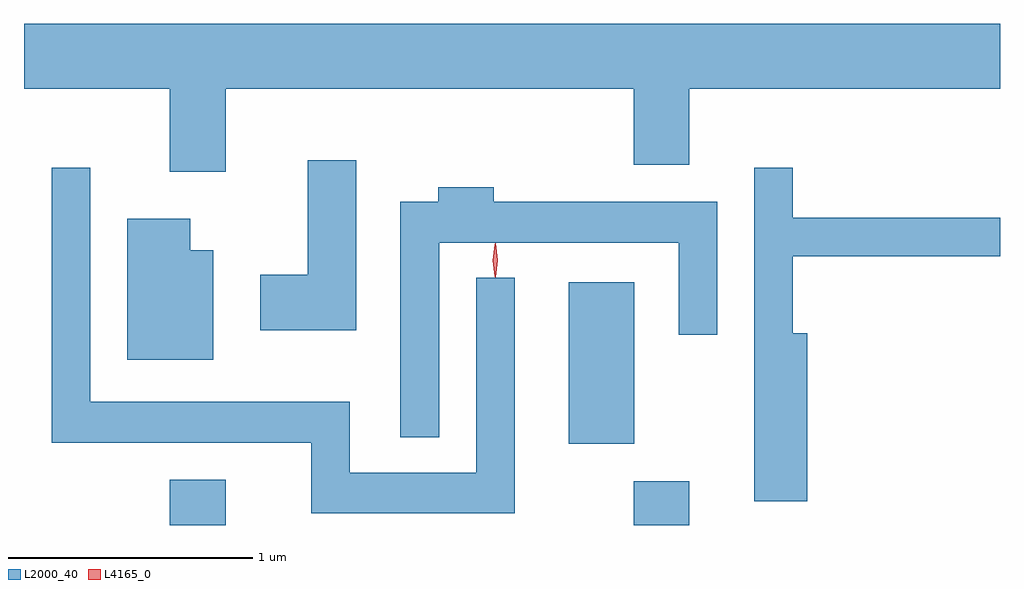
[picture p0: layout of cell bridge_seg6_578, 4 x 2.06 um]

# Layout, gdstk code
import gdstk
lib = gdstk.Library(unit=1e-6, precision=1e-09)
def R(c, l, rs):  # rectangles x0, y0, x1, y1
    for r in rs: c.add(gdstk.rectangle(r[:2], r[2:], *l))
def P(c, l, *ps):  # polygons
    for p in ps: c.add(gdstk.Polygon(p, *l))
L2000_40 = (2000, 40)
L4165_0 = (4165, 0)

bridge_seg6_578 = lib.new_cell('bridge_seg6_578')
R(bridge_seg6_578, L2000_40, [(526.271,1630.387,526.499,1630.574), (528.171,1630.387,528.399,1630.569), (527.906,1630.721,528.174,1631.384)])
P(bridge_seg6_578, L2000_40, [(526.499,1632.176),(528.171,1632.176),(528.171,1631.866),(528.399,1631.866),(528.399,1632.176),(529.673,1632.176),(529.673,1632.444),(525.673,1632.444),(525.673,1632.176),(526.271,1632.176),(526.271,1631.836),(526.499,1631.836)],
  [(527.034,1631.884),(526.836,1631.884),(526.836,1631.414),(526.641,1631.414),(526.641,1631.186),(527.034,1631.186)],
  [(527.684,1631.403),(527.526,1631.403),(527.526,1630.604),(527.009,1630.604),(527.009,1630.894),(525.944,1630.894),(525.944,1631.853),(525.786,1631.853),(525.786,1630.726),(526.851,1630.726),(526.851,1630.436),(527.684,1630.436)],
  [(528.884,1631.174),(528.824,1631.174),(528.824,1631.491),(529.673,1631.491),(529.673,1631.649),(528.824,1631.649),(528.824,1631.853),(528.666,1631.853),(528.666,1630.486),(528.884,1630.486)],
  [(527.374,1631.546),(528.356,1631.546),(528.356,1631.168),(528.514,1631.168),(528.514,1631.714),(527.599,1631.714),(527.599,1631.774),(527.371,1631.774),(527.371,1631.714),(527.216,1631.714),(527.216,1630.748),(527.374,1630.748)],
  [(526.449,1631.514),(526.354,1631.514),(526.354,1631.644),(526.096,1631.644),(526.096,1631.066),(526.449,1631.066)])
P(bridge_seg6_578, L4165_0, [(527.603,1631.407),(527.594,1631.474),(527.603,1631.54),(527.604,1631.541),(527.604,1631.54),(527.614,1631.474),(527.604,1631.407),(527.604,1631.407)],
  [(527.604,1631.404),(527.595,1631.473),(527.604,1631.543),(527.605,1631.543),(527.606,1631.543),(527.615,1631.473),(527.606,1631.404),(527.605,1631.404)])

lib.write_gds('bridge_seg6_578.gds')
